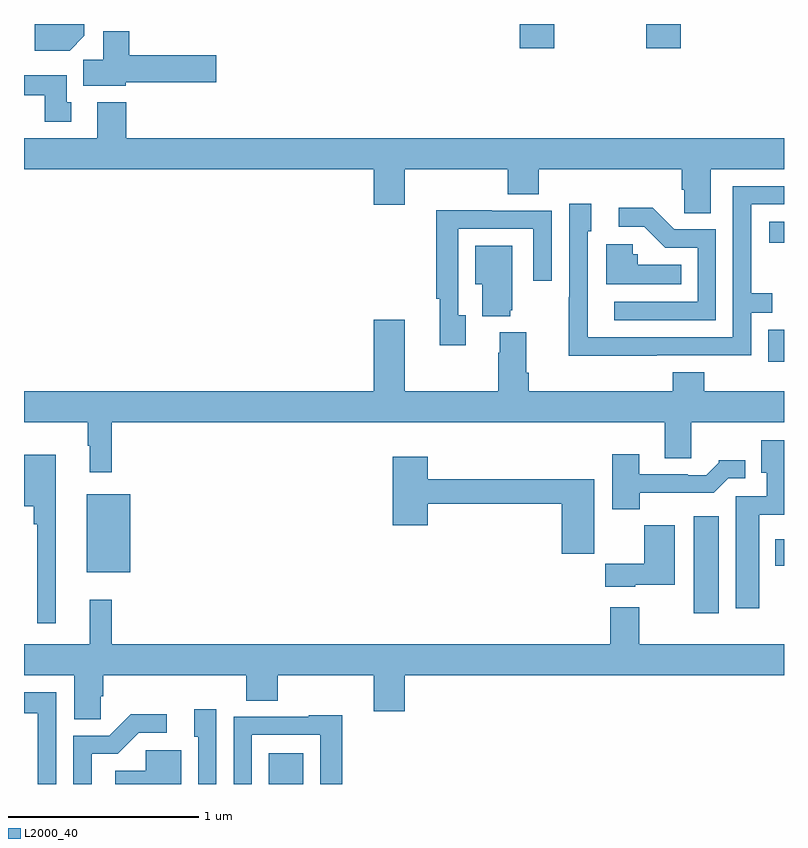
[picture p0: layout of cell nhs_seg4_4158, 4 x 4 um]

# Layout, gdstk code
import gdstk
lib = gdstk.Library(unit=1e-6, precision=1e-09)
def R(c, l, rs):  # rectangles x0, y0, x1, y1
    for r in rs: c.add(gdstk.rectangle(r[:2], r[2:], *l))
def P(c, l, *ps):  # polygons
    for p in ps: c.add(gdstk.Polygon(p, *l))
L2000_40 = (2000, 40)

nhs_seg4_4158 = lib.new_cell('nhs_seg4_4158')
R(nhs_seg4_4158, L2000_40, [(332.288,810.9,332.47,811.063), (334.526,811.8,334.657,812.308), (331.331,812.015,331.558,812.425), (334.955,812.048,335,812.188), (334.917,813.123,335,813.291), (334.923,813.749,335,813.859), (333.608,814.773,333.791,814.9), (334.274,814.773,334.457,814.9)])
P(nhs_seg4_4158, L2000_40, [(331.318,814.838),(331.318,814.9),(331.057,814.9),(331.057,814.76),(331.24,814.76)],
  [(331.536,814.594),(332.011,814.594),(332.011,814.736),(331.553,814.736),(331.553,814.861),(331.418,814.861),(331.418,814.712),(331.313,814.712),(331.313,814.574),(331.536,814.574)],
  [(331.249,814.488),(331.225,814.488),(331.225,814.63),(331,814.63),(331,814.526),(331.109,814.526),(331.109,814.386),(331.249,814.386)],
  [(334.615,814.136),(335,814.136),(335,814.3),(331.538,814.3),(331.538,814.489),(331.385,814.489),(331.385,814.3),(331,814.3),(331,814.136),(332.84,814.136),(332.84,813.948),(333.004,813.948),(333.004,814.136),(333.545,814.136),(333.545,814.003),(333.71,814.003),(333.71,814.136),(334.463,814.136),(334.463,814.027),(334.476,814.027),(334.476,813.904),(334.615,813.904)],
  [(334.331,813.156),(334.827,813.156),(334.827,813.381),(334.937,813.381),(334.937,813.482),(334.827,813.482),(334.827,813.951),(335,813.951),(335,814.047),(334.731,814.047),(334.731,813.252),(333.967,813.252),(333.967,813.473),(333.966,813.473),(333.966,813.81),(333.985,813.81),(333.985,813.955),(333.87,813.955),(333.87,813.461),(333.868,813.461),(333.868,813.155),(334.331,813.155)],
  [(334.641,813.819),(334.422,813.819),(334.309,813.932),(334.131,813.932),(334.131,813.834),(334.265,813.834),(334.376,813.723),(334.545,813.723),(334.545,813.438),(334.107,813.438),(334.107,813.342),(334.641,813.342)],
  [(333.325,813.366),(333.285,813.366),(333.285,813.822),(333.681,813.822),(333.681,813.549),(333.777,813.549),(333.777,813.918),(333.461,813.918),(333.461,813.92),(333.169,813.92),(333.169,813.454),(333.188,813.454),(333.188,813.21),(333.325,813.21)],
  [(334.46,813.634),(334.23,813.634),(334.23,813.687),(334.203,813.687),(334.203,813.742),(334.064,813.742),(334.064,813.53),(334.46,813.53)],
  [(333.56,813.393),(333.571,813.393),(333.571,813.733),(333.374,813.733),(333.374,813.53),(333.413,813.53),(333.413,813.362),(333.56,813.362)],
  [(331.463,812.804),(334.373,812.804),(334.373,812.614),(334.513,812.614),(334.513,812.804),(335,812.804),(335,812.968),(334.58,812.968),(334.58,813.067),(334.415,813.067),(334.415,812.968),(333.656,812.968),(333.656,813.064),(333.643,813.064),(333.643,813.277),(333.503,813.277),(333.503,813.17),(333.496,813.17),(333.496,812.968),(333.004,812.968),(333.004,813.343),(332.84,813.343),(332.84,812.968),(331,812.968),(331,812.804),(331.335,812.804),(331.335,812.681),(331.346,812.681),(331.346,812.541),(331.463,812.541)],
  [(334.87,812.318),(335,812.318),(335,812.71),(334.88,812.71),(334.88,812.538),(334.908,812.538),(334.908,812.415),(334.745,812.415),(334.745,811.824),(334.87,811.824)],
  [(334.24,812.432),(334.631,812.432),(334.707,812.508),(334.795,812.508),(334.795,812.605),(334.656,812.605),(334.656,812.59),(334.592,812.526),(334.493,812.526),(334.493,812.529),(334.237,812.529),(334.237,812.635),(334.097,812.635),(334.097,812.345),(334.24,812.345)],
  [(331.168,812.632),(331,812.632),(331,812.363),(331.051,812.363),(331.051,812.267),(331.071,812.267),(331.071,811.746),(331.168,811.746)],
  [(334,812.503),(333.125,812.503),(333.125,812.623),(332.942,812.623),(332.942,812.262),(333.125,812.262),(333.125,812.374),(333.83,812.374),(333.83,812.113),(334,812.113)],
  [(334.218,811.949),(334.426,811.949),(334.426,812.263),(334.264,812.263),(334.264,812.059),(334.06,812.059),(334.06,811.937),(334.218,811.937)],
  [(331.404,811.363),(331.418,811.363),(331.418,811.472),(332.171,811.472),(332.171,811.339),(332.336,811.339),(332.336,811.472),(332.84,811.472),(332.84,811.284),(333.004,811.284),(333.004,811.472),(335,811.472),(335,811.636),(334.237,811.636),(334.237,811.831),(334.085,811.831),(334.085,811.636),(331.463,811.636),(331.463,811.87),(331.346,811.87),(331.346,811.636),(331,811.636),(331,811.472),(331.265,811.472),(331.265,811.24),(331.404,811.24)],
  [(331.17,811.383),(331,811.383),(331,811.272),(331.073,811.272),(331.073,810.9),(331.17,810.9)],
  [(332.013,811.294),(331.895,811.294),(331.895,811.149),(331.917,811.149),(331.917,810.9),(332.013,810.9)],
  [(331.356,811.059),(331.494,811.059),(331.605,811.17),(331.75,811.17),(331.75,811.268),(331.562,811.268),(331.449,811.155),(331.26,811.155),(331.26,810.9),(331.356,810.9)],
  [(332.199,811.158),(332.559,811.158),(332.559,810.9),(332.675,810.9),(332.675,811.261),(332.499,811.261),(332.499,811.254),(332.103,811.254),(332.103,810.9),(332.199,810.9)],
  [(331.828,811.077),(331.641,811.077),(331.641,810.97),(331.479,810.97),(331.479,810.9),(331.828,810.9)])

lib.write_gds('nhs_seg4_4158.gds')
